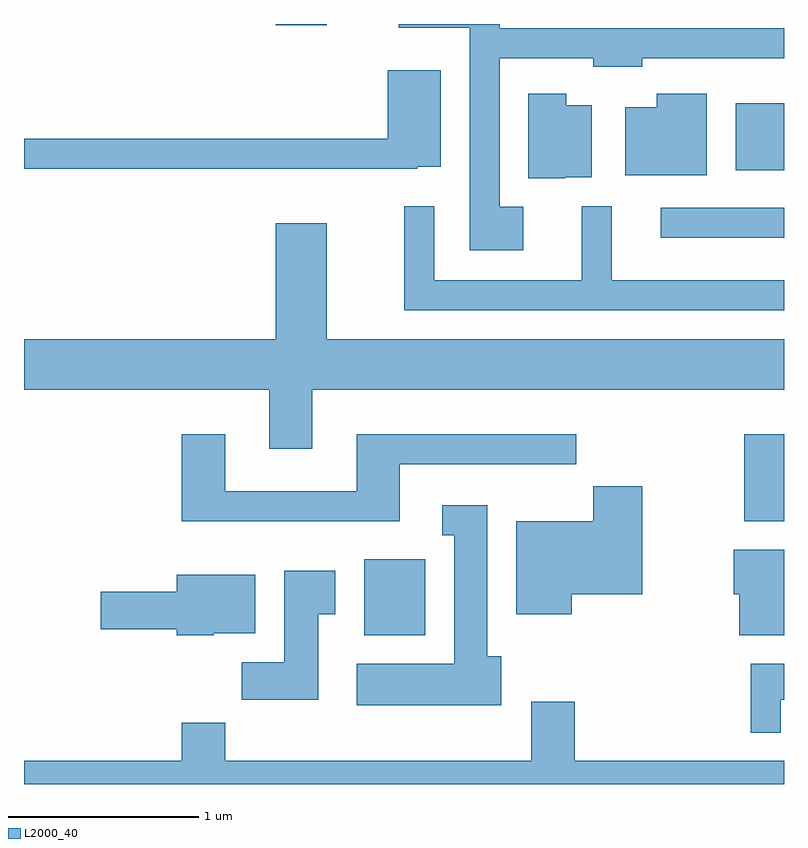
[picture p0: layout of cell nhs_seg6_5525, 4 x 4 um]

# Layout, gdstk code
import gdstk
lib = gdstk.Library(unit=1e-6, precision=1e-09)
def R(c, l, rs):  # rectangles x0, y0, x1, y1
    for r in rs: c.add(gdstk.rectangle(r[:2], r[2:], *l))
def P(c, l, *ps):  # polygons
    for p in ps: c.add(gdstk.Polygon(p, *l))
L2000_40 = (2000, 40)

nhs_seg6_5525 = lib.new_cell('nhs_seg6_5525')
R(nhs_seg6_5525, L2000_40, [(355.401,1570.946,355.724,1571.344), (357.401,1571.546,357.611,1572.004), (356.963,1573.036,357.611,1573.194), (357.356,1573.391,357.611,1573.744), (354.936,1574.156,355.204,1574.162)])
P(nhs_seg6_5525, L2000_40, [(356.239,1573.199),(356.114,1573.199),(356.114,1573.981),(356.606,1573.981),(356.606,1573.936),(356.864,1573.936),(356.864,1573.981),(357.611,1573.981),(357.611,1574.139),(356.114,1574.139),(356.114,1574.162),(355.583,1574.162),(355.583,1574.141),(355.956,1574.141),(355.956,1572.971),(356.239,1572.971)],
  [(355.68,1573.411),(355.804,1573.411),(355.804,1573.919),(355.526,1573.919),(355.526,1573.559),(353.611,1573.559),(353.611,1573.401),(355.68,1573.401)],
  [(357.204,1573.794),(356.941,1573.794),(356.941,1573.724),(356.776,1573.724),(356.776,1573.366),(357.204,1573.366)],
  [(356.46,1573.356),(356.599,1573.356),(356.599,1573.734),(356.464,1573.734),(356.464,1573.794),(356.266,1573.794),(356.266,1573.351),(356.46,1573.351)],
  [(357.611,1572.814),(356.704,1572.814),(356.704,1573.203),(356.546,1573.203),(356.546,1572.814),(355.769,1572.814),(355.769,1573.203),(355.611,1573.203),(355.611,1572.656),(357.611,1572.656)],
  [(355.129,1572.236),(357.611,1572.236),(357.611,1572.504),(355.204,1572.504),(355.204,1573.114),(354.936,1573.114),(354.936,1572.504),(353.611,1572.504),(353.611,1572.236),(354.901,1572.236),(354.901,1571.926),(355.129,1571.926)],
  [(355.589,1571.846),(356.518,1571.846),(356.518,1572.004),(355.361,1572.004),(355.361,1571.704),(354.669,1571.704),(354.669,1572.004),(354.441,1572.004),(354.441,1571.546),(355.589,1571.546)],
  [(356.494,1571.161),(356.864,1571.161),(356.864,1571.729),(356.606,1571.729),(356.606,1571.544),(356.201,1571.544),(356.201,1571.056),(356.494,1571.056)],
  [(356.124,1570.834),(356.049,1570.834),(356.049,1571.629),(355.813,1571.629),(355.813,1571.471),(355.876,1571.471),(355.876,1570.794),(355.361,1570.794),(355.361,1570.576),(356.124,1570.576)],
  [(357.611,1571.394),(357.346,1571.394),(357.346,1571.161),(357.376,1571.161),(357.376,1570.946),(357.611,1570.946)],
  [(355.159,1571.056),(355.249,1571.056),(355.249,1571.284),(354.981,1571.284),(354.981,1570.804),(354.756,1570.804),(354.756,1570.606),(355.159,1570.606)],
  [(354.61,1570.956),(354.829,1570.956),(354.829,1571.264),(354.416,1571.264),(354.416,1571.174),(354.016,1571.174),(354.016,1570.976),(354.416,1570.976),(354.416,1570.946),(354.61,1570.946)],
  [(357.594,1570.606),(357.611,1570.606),(357.611,1570.794),(357.436,1570.794),(357.436,1570.433),(357.594,1570.433)],
  [(357.611,1570.284),(356.509,1570.284),(356.509,1570.594),(356.281,1570.594),(356.281,1570.284),(354.669,1570.284),(354.669,1570.484),(354.441,1570.484),(354.441,1570.284),(353.611,1570.284),(353.611,1570.162),(357.611,1570.162)])

lib.write_gds('nhs_seg6_5525.gds')
